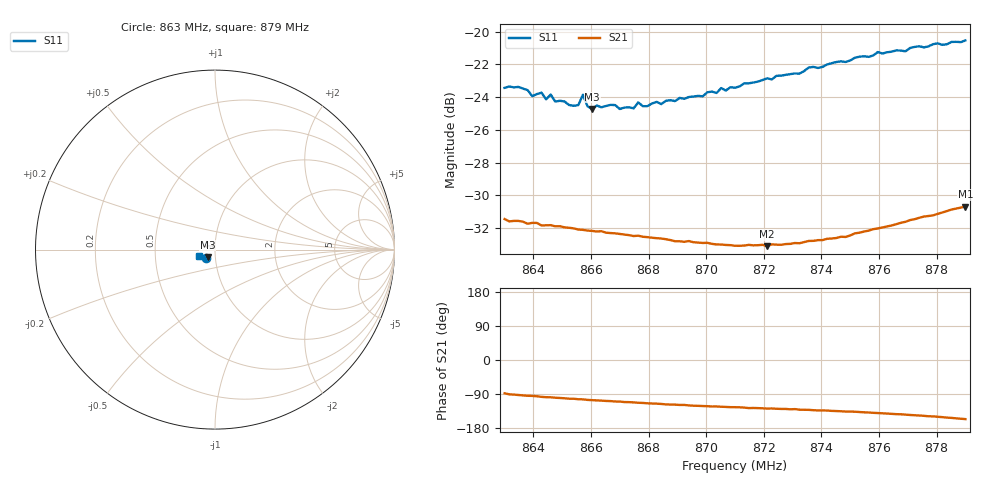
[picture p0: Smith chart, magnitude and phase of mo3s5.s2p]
# HZ S RI R 50
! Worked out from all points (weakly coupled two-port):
!   101 points, 863 MHz to 879 MHz, reference 50 ohm
!   highest |S21| = -30.69 dB at 879 MHz (marker M1); lowest = -33.1 dB at 872.12 MHz (marker M2)
!   lowest |S11| = -24.7 dB at 866.04 MHz (marker M3), VSWR 1.12, Z = 45.9 - j3.75 ohm
!   |S11| at or under -10 dB: start of sweep to end of sweep
!   S12 and S22 are empty: the file has one direction only
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8.63e8  -0.0502 -0.0449  0.00101 -0.0267  0 0  0 0
8.6348e8  -0.0525 -0.0429  -0.0011 -0.0264  0 0  0 0
8.6396e8  -0.0479 -0.0417  -0.00215 -0.0259  0 0  0 0
8.6428e8  -0.0484 -0.0435  -0.00323 -0.0254  0 0  0 0
8.6444e8  -0.0469 -0.0407  -0.00363 -0.0253  0 0  0 0
8.646e8  -0.0495 -0.041  -0.00371 -0.0254  0 0  0 0
8.6476e8  -0.0459 -0.0404  -0.00424 -0.0251  0 0  0 0
8.654e8  -0.0432 -0.0407  -0.0053 -0.0245  0 0  0 0
8.6556e8  -0.0433 -0.0411  -0.00582 -0.0242  0 0  0 0
8.6572e8  -0.0471 -0.0436  -0.00593 -0.0241  0 0  0 0
8.6588e8  -0.0425 -0.0411  -0.0065 -0.0238  0 0  0 0
8.6604e8  -0.0413 -0.0407  -0.00677 -0.0237  0 0  0 0
8.6668e8  -0.041 -0.0435  -0.00766 -0.023  0 0  0 0
8.6748e8  -0.0377 -0.0444  -0.00885 -0.022  0 0  0 0
8.6764e8  -0.0403 -0.0455  -0.00924 -0.0219  0 0  0 0
8.678e8  -0.0388 -0.0447  -0.00934 -0.0217  0 0  0 0
8.6844e8  -0.0388 -0.0459  -0.0102 -0.021  0 0  0 0
8.71e8  -0.0432 -0.0518  -0.0126 -0.0183  0 0  0 0
8.7212e8  -0.0478 -0.0539  -0.0137 -0.0174  0 0  0 0
8.7372e8  -0.0547 -0.0557  -0.0155 -0.0169  0 0  0 0
8.7644e8  -0.071 -0.0501  -0.0202 -0.0157  0 0  0 0
8.79e8  -0.0864 -0.0371  -0.0267 -0.0119  0 0  0 0
